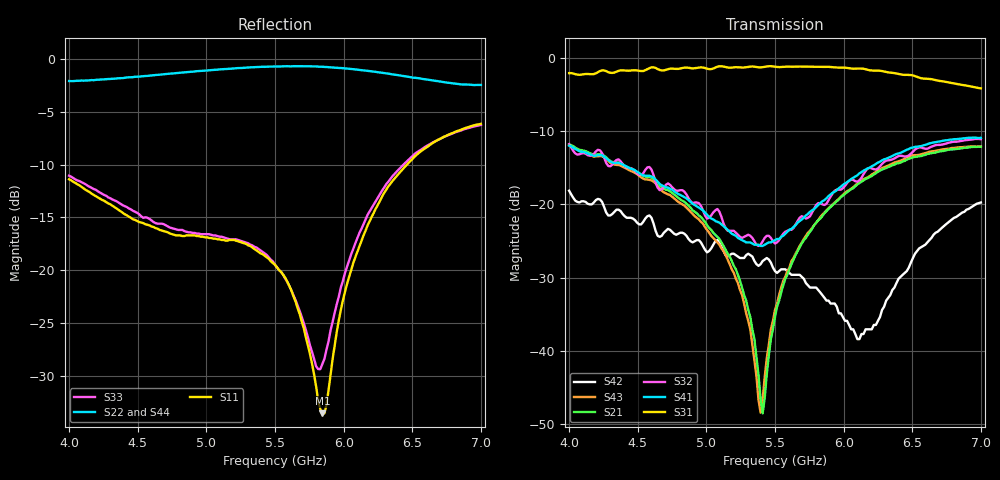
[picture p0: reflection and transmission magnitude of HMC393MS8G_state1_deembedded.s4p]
!Hittite Microwave Corporation
!12 Elizabeth Drive
!Chelmsford, MA 01824
!Tel: 978-250-3343
!Fax: 978-250-3373
!Device: HMC393MS8G, 5-6 GHz GaAs MMIC DPDT Diversity Switch in 8-lead Grounded Base surface Mount Plastic Package
!Misc:  Port 1 = ANT1, Port 2 = ANT2, Port 3 = Tx, Port 4 = Rx, Vctl=+5V, State 1 selected, Room
# MHZ S MA R 50
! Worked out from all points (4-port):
!   201 points, 4 GHz to 7 GHz, reference 50 ohm
!   strongest paths, dB at 4 GHz, 4.75 GHz, 5.5 GHz, 6.25 GHz, 7 GHz:
!     S31: -2.1, -1.4, -1.2, -1.7, -4.1
!     S41: -12.0, -18.0, -24.9, -14.3, -10.9
!     S32: -11.8, -17.7, -25.4, -15.1, -11.1
!     S21: -11.8, -18.4, -35.4, -15.5, -12.1
!     S43: -11.9, -18.9, -34.4, -15.3, -12.1
!     S42: -18.1, -23.7, -29.1, -35.9, -19.7
!   lowest |S11| = -33.6 dB at 5.845 GHz (marker M1), VSWR 1.04, Z = 51.4 + j1.63 ohm
!   |S11| at or under -10 dB: start of sweep to 6.462 GHz
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4000  0.269 59.3  0.277 1.5  0.776 55.1  0.271 1.6
      0.257 0.7  0.786 -1.2  0.245 2.0  0.129 -19.6
      0.789 53.6  0.258 -2.8  0.28 65.8  0.273 0.8
      0.252 1.0  0.124 -23.6  0.254 0.3  0.777 -1.5
5095  0.14 -2.5  0.061 -7.0  0.866 52.7  0.079 22.0
      0.058 -4.7  0.892 -43.4  0.078 22.6  0.053 6.7
      0.879 52.8  0.089 18.2  0.144 8.8  0.055 -5.3
      0.075 23.8  0.056 4.0  0.053 -3.5  0.902 -39.9
5410  0.119 -10.3  0.003802 73.7  0.874 51.3  0.052 68.7
      0.003733 79.0  0.918 -51.3  0.056 66.0  0.04 13.9
      0.866 51.8  0.056 69.9  0.122 -3.4  0.00458 111.3
      0.052 71.5  0.041 20.2  0.004634 114.2  0.926 -45.2
5560  0.095 -10.6  0.027 166.7  0.866 50.6  0.058 101.9
      0.028 161.5  0.922 -55.1  0.063 91.2  0.034 22.1
      0.871 50.8  0.063 93.1  0.095 -4.6  0.028 168.7
      0.061 97.8  0.036 18.7  0.03 164.3  0.929 -48.0
5845  0.021 48.8  0.089 166.4  0.869 48.4  0.109 125.1
      0.083 164.5  0.918 -63.3  0.103 117.1  0.025 11.5
      0.87 48.6  0.1 114.3  0.036 70.3  0.088 169.7
      0.105 123.0  0.024 6.5  0.085 167.5  0.921 -54.8
6280  0.223 129.2  0.165 157.9  0.813 43.7  0.192 127.9
      0.173 156.9  0.86 -82.7  0.189 123.1  0.018 -101.4
      0.815 43.4  0.189 125.3  0.238 120.8  0.17 160.5
      0.2 127.3  0.019 -100.0  0.177 159.7  0.847 -75.2
7000  0.493 118.7  0.255 143.2  0.621 41.7  0.292 111.3
      0.248 144.0  0.753 -130.7  0.274 111.7  0.103 -167.2
      0.621 41.9  0.279 111.5  0.487 113.4  0.255 142.4
      0.285 112.0  0.103 -166.9  0.249 143.0  0.736 -134.4
